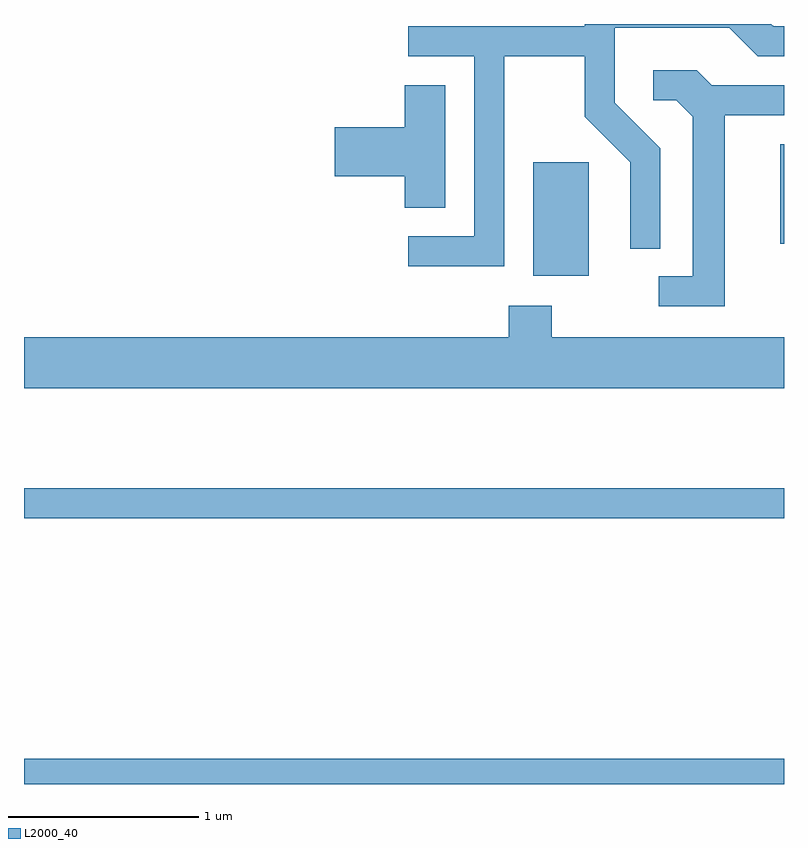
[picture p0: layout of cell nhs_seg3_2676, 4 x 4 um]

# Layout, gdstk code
import gdstk
lib = gdstk.Library(unit=1e-6, precision=1e-09)
def R(c, l, rs):  # rectangles x0, y0, x1, y1
    for r in rs: c.add(gdstk.rectangle(r[:2], r[2:], *l))
def P(c, l, *ps):  # polygons
    for p in ps: c.add(gdstk.Polygon(p, *l))
L2000_40 = (2000, 40)

nhs_seg3_2676 = lib.new_cell('nhs_seg3_2676')
R(nhs_seg3_2676, L2000_40, [(263.611,1163.892,267.611,1164.024), (263.611,1165.291,267.611,1165.449), (266.291,1166.566,266.584,1167.164), (267.591,1166.736,267.611,1167.259)])
P(nhs_seg3_2676, L2000_40, [(266.139,1167.721),(266.561,1167.721),(266.561,1167.404),(266.801,1167.164),(266.801,1166.708),(266.959,1166.708),(266.959,1167.237),(266.719,1167.477),(266.719,1167.871),(267.324,1167.871),(267.474,1167.721),(267.611,1167.721),(267.611,1167.879),(267.557,1167.879),(267.544,1167.892),(266.561,1167.892),(266.561,1167.879),(265.633,1167.879),(265.633,1167.721),(265.981,1167.721),(265.981,1166.774),(265.633,1166.774),(265.633,1166.616),(266.139,1166.616)],
  [(267.299,1167.411),(267.611,1167.411),(267.611,1167.569),(267.232,1167.569),(267.152,1167.649),(266.923,1167.649),(266.923,1167.491),(267.044,1167.491),(267.131,1167.404),(267.131,1166.564),(266.953,1166.564),(266.953,1166.406),(267.299,1166.406)],
  [(265.829,1167.569),(265.616,1167.569),(265.616,1167.349),(265.246,1167.349),(265.246,1167.091),(265.616,1167.091),(265.616,1166.926),(265.829,1166.926)],
  [(267.611,1166.244),(266.389,1166.244),(266.389,1166.409),(266.161,1166.409),(266.161,1166.244),(263.611,1166.244),(263.611,1165.976),(267.611,1165.976)])

lib.write_gds('nhs_seg3_2676.gds')
